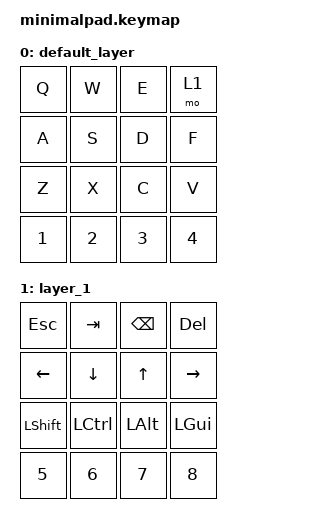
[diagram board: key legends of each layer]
/ {
    keymap {
        compatible = "zmk,keymap";

        default_layer { // Layer 0 (Base Layer)
            // Define key bindings for each key position
            bindings = <
                &kp Q    &kp W    &kp E    &mo 1
                &kp A    &kp S    &kp D    &kp F
                &kp Z    &kp X    &kp C    &kp V
                &kp 1    &kp 2    &kp 3    &kp 4
            >;
        };

        layer_1 { // Layer 1 (Example FN Layer)
            bindings = <
                &kp ESC  &kp TAB  &kp BSPC &kp DEL
                &kp LEFT &kp DOWN &kp UP   &kp RIGHT
                &kp LSHFT &kp LCTRL &kp LALT &kp LGUI
                &kp 5    &kp 6    &kp 7    &kp 8
            >;
        };
    };
};
